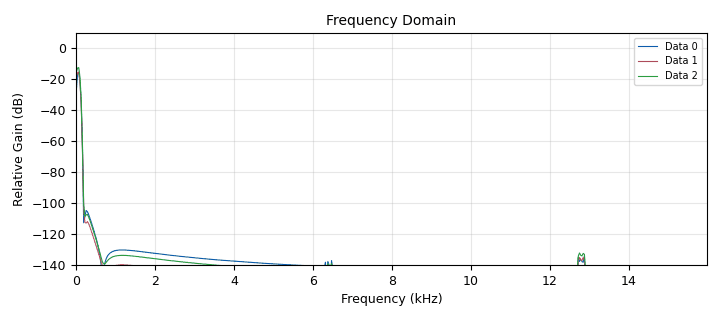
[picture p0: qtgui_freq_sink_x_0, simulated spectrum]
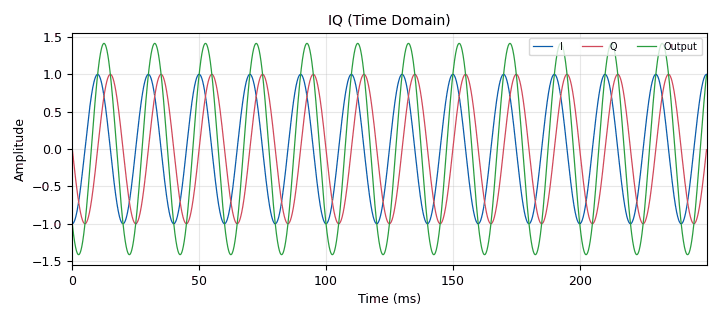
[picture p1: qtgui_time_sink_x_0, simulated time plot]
options:
  parameters:
    generate_options: qt_gui
    id: quadrature_sampling
    output_language: python
    title: Quadrature Sampling
  states: {}

blocks:
- name: Frequency
  id: variable_qtgui_range
  parameters:
    label: Frequency
    orient: Qt.Horizontal
    start: '1'
    step: '1'
    stop: samp_rate/2
    value: '50'
  states: {}
- name: I
  id: variable_qtgui_range
  parameters:
    label: I
    orient: Qt.Horizontal
    start: '-2'
    step: '1e-3'
    stop: '2'
    value: '1'
  states: {}
- name: Phase
  id: variable_qtgui_range
  parameters:
    label: Phase
    orient: Qt.Horizontal
    start: '0'
    step: '1e-3'
    stop: 2*pi
    value: '0'
  states: {}
- name: Q
  id: variable_qtgui_range
  parameters:
    label: Q
    orient: Qt.Horizontal
    start: '-2'
    step: '1e-3'
    stop: '2'
    value: '1'
  states: {}
- name: samp_rate
  id: variable
  parameters:
    value: '32000'
  states: {}
- name: analog_sig_source_x_0
  id: analog_sig_source_x
  parameters:
    amp: I
    freq: Frequency
    offset: '0'
    phase: Phase
    samp_rate: samp_rate
    type: float
    waveform: analog.GR_COS_WAVE
  states: {}
- name: analog_sig_source_x_1
  id: analog_sig_source_x
  parameters:
    amp: Q
    freq: Frequency
    offset: '0'
    phase: Phase
    samp_rate: samp_rate
    type: float
    waveform: analog.GR_SIN_WAVE
  states: {}
- name: blocks_add_xx_0
  id: blocks_add_xx
  parameters:
    type: float
  states: {}
- name: blocks_throttle_0
  id: blocks_throttle
  parameters:
    samples_per_second: samp_rate
    type: float
  states: {}
- name: blocks_throttle_0_0
  id: blocks_throttle
  parameters:
    samples_per_second: samp_rate
    type: float
  states: {}
- name: import_0
  id: import
  parameters:
    imports: from math import pi
  states: {}
- name: note_0
  id: note
  parameters:
    comment: |-
      Quadrature Sampling samples IQ signals.
      IQ Signals are of the form:

      I*cos(f*t) + Q*sin(f*t) where the frequency is constant and the two signals are always 90 degrees out of phase.
      A property of sinusoidal waves is that if the frequency is constant, the linear combinations of the sinusoids produces a wave whose frequency is the same but scaled in amplitude and shifted in phase.
      This is important for the frequency domain as it allows clean seperation of waves when added together.
      The idea is to adjust the amplitude I and Q to generate the resultant wave that we want of some amplitude and phase.
  states: {}
- name: qtgui_freq_sink_x_0
  id: qtgui_freq_sink_x
  parameters:
    bw: samp_rate
    fc: '0'
    fftsize: '1024'
    freqhalf: 'False'
    name: Frequency Domain
    nconnections: '3'
    type: float
    wintype: firdes.WIN_BLACKMAN_hARRIS
  states: {}
- name: qtgui_time_sink_x_0
  id: qtgui_time_sink_x
  parameters:
    autoscale: 'True'
    grid: 'True'
    label1: I
    label2: Q
    label3: Output
    name: IQ (Time Domain)
    nconnections: '3'
    size: int(samp_rate/4)
    srate: samp_rate
    type: float
    update_time: '0.1'
    ymax: '5'
    ymin: '-5'
  states: {}

connections:
- [analog_sig_source_x_0, '0', blocks_throttle_0_0, '0']
- [analog_sig_source_x_1, '0', blocks_throttle_0, '0']
- [blocks_add_xx_0, '0', qtgui_freq_sink_x_0, '2']
- [blocks_add_xx_0, '0', qtgui_time_sink_x_0, '2']
- [blocks_throttle_0, '0', blocks_add_xx_0, '1']
- [blocks_throttle_0, '0', qtgui_freq_sink_x_0, '1']
- [blocks_throttle_0, '0', qtgui_time_sink_x_0, '1']
- [blocks_throttle_0_0, '0', blocks_add_xx_0, '0']
- [blocks_throttle_0_0, '0', qtgui_freq_sink_x_0, '0']
- [blocks_throttle_0_0, '0', qtgui_time_sink_x_0, '0']

metadata:
  file_format: 1
